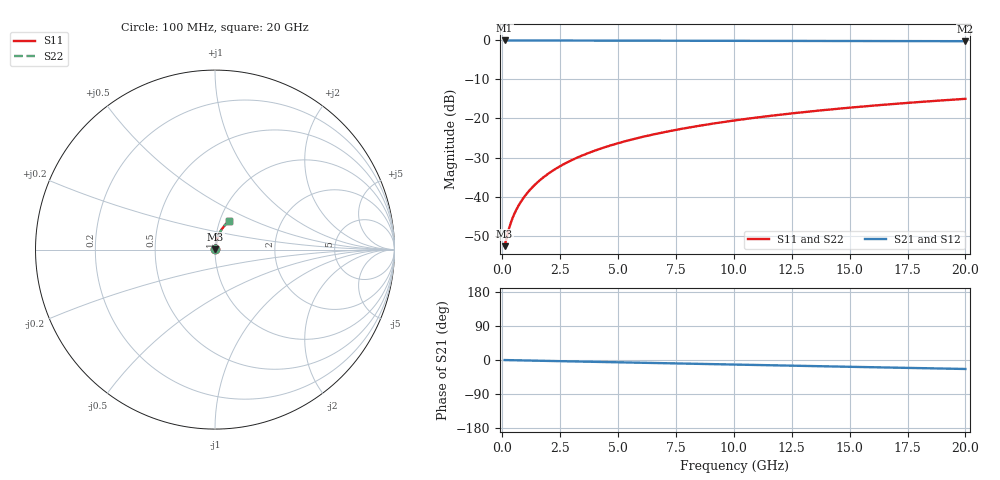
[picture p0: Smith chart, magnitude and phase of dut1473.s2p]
! Touchstone file exported from HFSS 2026.1.0
!  File:  C:/ffzhzh/LocalFiles/Ansys_Project_Files/temp_train_BSMRDL_1473_1783181141_51560.aedt
!  Generated:  12:06:54 AM Jul  5, 2026
!  Design:  BSMRDL
!  Project:  temp_train_BSMRDL_1473_1783181141_51560
! Variables:
!  h_bsmrdl = 2.91um
!  h_ox = 20um
!  h_rdl = 5um
!  h_sub = 80um
!  h_tmrdl = 5um
!  h_tsv = 80um
!  h_via = 3um
!  l_bsmrdl = 351.38um
!  l_sub = 751.38um
!  l_tmrdl = 200um
!  m_sub = 200um
!  pitch = 40.44um
!  r_tsv = 6um
!  s_tmrdl = 10um
!  w_bsmrdl = 24.97um
!  w_sub = 500um
!  w_tmrdl = 12um
!  x_tsv_center1 = 206um
!  x_tsv_center2 = 582.35um
!  x_tsv_center3 = 794.35um
!  x_tsv_center4 = 1170.7um
!  x_tsv_center5 = 1382.7um
!  x_tsv_center6 = 1759.05um
# GHz S MA R 50.000000
! Terminal data exported
! Port[1] = BSM_RDL1_1_T1
! Port[2] = BSM_RDL1_1_T2
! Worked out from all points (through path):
!   200 points, 100 MHz to 20 GHz, reference 50 ohm
!   highest |S21| = -0.02 dB at 100 MHz (marker M1); lowest = -0.2 dB at 20 GHz (marker M2)
!   group delay of S21, straight-line fit = 3.29 ps
!   lowest |S11| = -52.7 dB at 100 MHz (marker M3), VSWR 1.00, Z = 50.2 + j0.115 ohm
!   |S11| at or under -10 dB: start of sweep to end of sweep
!   |S22| runs from -52.7 to -15.0 dB; largest |S21 - S12| = 4.4e-15
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0.1  0.002314 29.8  0.998 -0.1  0.998 -0.1  0.002314 29.8
! Gamma 0 0 0 0
! Port Impedance 50 0 50 0
0.2  0.003092 46.7  0.9979 -0.3  0.9979 -0.3  0.003092 46.7
0.3  0.003992 55.6  0.9978 -0.4  0.9978 -0.4  0.003992 55.6
0.4  0.004907 60.8  0.9976 -0.5  0.9976 -0.5  0.004907 60.8
0.5  0.005817 64.4  0.9975 -0.6  0.9975 -0.6  0.005817 64.4
0.6  0.006723 67.1  0.9975 -0.8  0.9975 -0.8  0.006723 67.1
0.8  0.008538 71.0  0.9973 -1.0  0.9973 -1.0  0.008538 71.0
1.1  0.0113 74.6  0.9972 -1.4  0.9972 -1.4  0.0113 74.6
1.3  0.01316 76.1  0.9971 -1.6  0.9971 -1.6  0.01316 76.1
1.6  0.01597 77.7  0.997 -2.0  0.997 -2.0  0.01597 77.7
2.1  0.0207 79.2  0.9968 -2.6  0.9968 -2.6  0.0207 79.2
2.7  0.0264 80.0  0.9966 -3.3  0.9966 -3.3  0.0264 80.0
3.5  0.03401 80.2  0.9962 -4.3  0.9962 -4.3  0.03401 80.2
4.2  0.04064 80.0  0.9958 -5.1  0.9958 -5.1  0.04064 80.0
5  0.04819 79.6  0.9952 -6.1  0.9952 -6.1  0.04819 79.6
5.9  0.05662 78.8  0.9945 -7.2  0.9945 -7.2  0.05661 78.8
6.8  0.06497 78.0  0.9937 -8.2  0.9937 -8.2  0.06497 78.0
8.3  0.07872 76.5  0.9922 -10.0  0.9922 -10.0  0.07872 76.5
10.1  0.09493 74.6  0.9902 -12.2  0.9902 -12.2  0.09493 74.6
13.4  0.1238 71.0  0.986 -16.1  0.986 -16.1  0.1238 71.0
16.7  0.1517 67.4  0.9813 -19.9  0.9813 -19.9  0.1517 67.4
20  0.1784 63.8  0.9761 -23.7  0.9761 -23.7  0.1784 63.8
